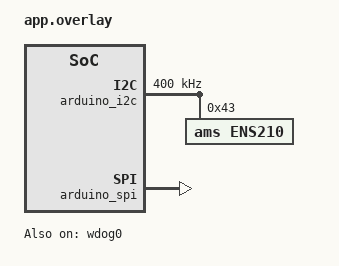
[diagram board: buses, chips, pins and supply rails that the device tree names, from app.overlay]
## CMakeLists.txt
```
# Copyright (c) 2024-2026 Atmosic
#
# SPDX-License-Identifier: LicenseRef-Atmosic

cmake_minimum_required(VERSION 3.20.0)

set(BOARD_ROOT ${CMAKE_CURRENT_SOURCE_DIR}/../../)
set(SHIELD pervasive_epaper_e2266qs0f1)

find_package(Zephyr REQUIRED HINTS $ENV{ZEPHYR_BASE})
project(peripheral_esl)


if(CONFIG_BT_ESLS_DISPLAY_NUM)
  target_sources(app PRIVATE
    display/esl_display.c
    display/esl_image.c
  )
  zephyr_include_directories(display)
endif()

target_sources(app PRIVATE
  src/main.c
)
```

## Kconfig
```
# Copyright (c) 2025-2026 Atmosic
#
# SPDX-License-Identifier: LicenseRef-Atmosic

source "Kconfig.zephyr"

config ESL_PTS
	bool "Enable for the PTS test"
```

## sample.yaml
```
sample:
  name: Bluetooth Peripheral ESL
  description: Demonstrates the ESL (Electronic Shelf Label) GATT Service
common:
  sysbuild: true
  harness: console
  harness_config:
    type: one_line
    regex:
      - "Adv Start"
  tags:
    - ble_pawr
    - bluetooth
    - atm_test_with_spe
  depends_on:
    - esl
tests:
  applications.peripheral_esl.atm: &base_config
    extra_args:
      - SB_ATM_DTS_EXTRA_CPPFLAGS="-DINIT_BP_FREQ=48000000;-DATM_APP_FLASH_RESERVED_SIZE=0x9000"
  applications.peripheral_esl.atm.mcuboot:
    tags:
      - mcuboot
    extra_args:
      - SB_CONFIG_BOOTLOADER_MCUBOOT=y
      - SB_CONFIG_BOOT_SIGNATURE_TYPE_ECDSA_P256=y
      - SB_CONFIG_MCUBOOT_MODE_SWAP_SCRATCH=y
      - SB_ATM_DTS_EXTRA_CPPFLAGS="-DINIT_BP_FREQ=48000000;-DATM_APP_FLASH_RESERVED_SIZE=0x9000;-DATM_STORAGE_SIZE=0x1000;-DATM_MCUBOOT_SWAP_WITH_OFFSET=0"
  applications.peripheral_esl.atm.pytest:
    extra_args:
      - SB_ATM_DTS_EXTRA_CPPFLAGS="-DATM_APP_FLASH_RESERVED_SIZE=0x9000"
    harness: pytest
    tags:
      - esl_pytest
    timeout: 600
  applications.peripheral_esl.atm.gcov:
    <<: *base_config
    tags:
      - gcov
    depends_on:
      - gcov_capable
    timeout: 300
    extra_configs:
      - CONFIG_UU_TEST_OPENAIR="esls.c;display_pervasive.c"
```

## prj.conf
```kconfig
# STACK SIZE
CONFIG_MAIN_STACK_SIZE=2048
CONFIG_SYSTEM_WORKQUEUE_STACK_SIZE=2048

CONFIG_LOG=y

# DRIVER
CONFIG_I2C=y
CONFIG_SENSOR=y
CONFIG_DISPLAY=y
CONFIG_LED=y

# BT
CONFIG_BT=y
CONFIG_BT_PERIPHERAL=y
CONFIG_BT_SMP=y
CONFIG_BT_PRIVACY=y
CONFIG_BT_BUF_ACL_RX_SIZE=502
CONFIG_BT_ATT_PREPARE_COUNT=2
CONFIG_BT_MAX_PAIRED=1
CONFIG_BT_MAX_CONN=1

CONFIG_BT_DEVICE_NAME="Atmosic_ESL"
CONFIG_BT_DEVICE_APPEARANCE=2754

# DIS
CONFIG_BT_DIS=y
CONFIG_BT_DIS_PNP=y
CONFIG_BT_DIS_MANUF_NAME_STR="Atmosic Tech."
CONFIG_BT_DIS_PNP_VID_SRC=2
CONFIG_BT_DIS_PNP_VID=0x045E
CONFIG_BT_DIS_PNP_PID=0x0040
CONFIG_BT_DIS_PNP_VER=0x0300

# SETTINGS
CONFIG_BT_SETTINGS=y
CONFIG_FLASH=y
CONFIG_FLASH_PAGE_LAYOUT=y
CONFIG_FLASH_MAP=y
CONFIG_NVS=y
CONFIG_SETTINGS=y
CONFIG_ATM_SETTINGS=y

# BT STKLIB
CONFIG_ATMWSTK_CPD200=y

# ESLS
CONFIG_BT_ESLS=y
CONFIG_BT_ESLS_IMAGE_NUM=2
# Need to be CONFIG_BT_ESLS_IMAGE_NUM + 1 (1 for BT_OTS_DIR_LIST_OBJ)
CONFIG_BT_OTS_MAX_OBJ_CNT=3
CONFIG_BT_ESLS_IMAGE_MAX_SIZE=12288
CONFIG_BT_ESLS_ADV_MANU_DATA_MAX=6
CONFIG_BT_ESLS_LED_NUM=1

# STACK SENTINEL
CONFIG_STACK_SENTINEL=y

# Need to enable for power consumption measure
#CONFIG_ENS210_TEMPERATURE_SINGLE=y
#CONFIG_ENS210_HUMIDITY_SINGLE=y

CONFIG_BT_GAP_AUTO_UPDATE_CONN_PARAMS=n
CONFIG_APP_WORK_Q=y

# VENDOR API COMMAND
CONFIG_ATM_VENDOR_API=y
CONFIG_VND_API_SET_ADV_TX_POWER=y
CONFIG_VND_API_SET_CON_TX_POWER=y
```

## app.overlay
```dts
/*
 * Copyright (c) 2025-2026 Atmosic
 *
 * SPDX-License-Identifier: Apache-2.0
 */

#define ATM_EPD_STORAGE_NODE_ID cece00F0
#define EPD_STORAGE_SIZE ATM_APP_FLASH_RESERVED_SIZE
#ifdef ATM_SLOT3_OFFSET
#define EPD_STORAGE_OFFSET (ATM_SLOT3_OFFSET + ATM_SLOT3_SIZE)
#else
#define EPD_STORAGE_OFFSET (FLASH_SIZE - EPD_STORAGE_SIZE)
#endif

#if ((EPD_STORAGE_OFFSET+EPD_STORAGE_SIZE) > FLASH_SIZE)
#error "EPD storage size does not fit in specified FLASH_SIZE"
#endif

&flash0 {
	partitions {
		compatible = "atmosic,tz-fixed-partitions", "fixed-partitions";
		#address-cells = <1>;
		#size-cells = <1>;

		epd_storage: partition@ATM_EPD_STORAGE_NODE_ID {
			label = "epd_storage";
			reg = <EPD_STORAGE_OFFSET EPD_STORAGE_SIZE>;
		};
	};
};

&wdog0 {
	status = "okay";
};

&arduino_i2c {
	status = "okay";
	clock-frequency = <I2C_BITRATE_FAST>;

	ens210: ens210@43 {
		compatible = "ams,ens210";
		reg = <0x43>;
	};
};

&pinctrl {
	spi1_cs_default: spi1_cs_default {
		pinmux = <12 PINMUX_SPI1_CS>;
	};

	spi1_clk_default: spi1_clk_default {
		pinmux = <13 PINMUX_SPI1_CLK>;
	};

	spi1_mosi_default: spi1_mosi_default {
		pinmux = <14 PINMUX_SPI1_MOSI>;
	};

	spi1_miso_default: spi1_miso_default {
		pinmux = <15 PINMUX_SPI1_MISO>;
	};
};

&arduino_spi {
	pinctrl-0 = <&spi1_cs_default &spi1_clk_default &spi1_mosi_default &spi1_miso_default>;
	pinctrl-names = "default";
	status = "okay";
};

&pervasive_interface {
	dc-gpios = <&gpio0 7 GPIO_ACTIVE_LOW>;
	reset-gpios = <&gpio0 3 GPIO_ACTIVE_LOW>;
	busy-gpios = <&gpio0 6 GPIO_ACTIVE_HIGH>;
};

&pmu {
	vddio-type = <1>;
};
```

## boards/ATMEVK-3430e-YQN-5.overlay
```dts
/*
 * Copyright (c) 2022-2026 Atmosic
 *
 * SPDX-License-Identifier: LicenseRef-Atmosic
 */

#include "../app.overlay"

&led2 {
	/*
	 * Remap led2 to P1.14.
	 * The original pin (P0.7) conflicts with the 'pervasive_interface'
	 * dc-gpios on this board.
	 */
	gpios = <&gpio1 14 GPIO_ACTIVE_HIGH>;
};
```

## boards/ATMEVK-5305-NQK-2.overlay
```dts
/*
 * Copyright (c) 2026 Atmosic
 *
 * SPDX-License-Identifier: LicenseRef-Atmosic
 */

#include "../app.overlay"

&pervasive_interface {
	dc-gpios = <&gpio2 7 GPIO_ACTIVE_LOW>; /* P39 */
	reset-gpios = <&gpio2 5 GPIO_ACTIVE_LOW>; /* P37 */
	busy-gpios = <&gpio2 6 GPIO_ACTIVE_HIGH>; /* P38 */
};

&pinctrl {
	i2c0_sda_default: i2c0_sda_default {
		pinmux = <17 PINMUX_I2C0_SDA>;
	};

	i2c0_scl_default: i2c0_scl_default {
		pinmux = <16 PINMUX_I2C0_SCL>;
	};
};
```

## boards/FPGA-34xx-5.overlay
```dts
/*
 * Copyright (c) 2024-2026 Atmosic
 *
 * SPDX-License-Identifier: LicenseRef-Atmosic
 */

&pinctrl {
	spi1_cs_default: spi1_cs_default {
		pinmux = <12 PINMUX_SPI1_CS>;
	};

	spi1_clk_default: spi1_clk_default {
		pinmux = <13 PINMUX_SPI1_CLK>;
	};

	spi1_mosi_default: spi1_mosi_default {
		pinmux = <14 PINMUX_SPI1_MOSI>;
	};

	spi1_miso_default: spi1_miso_default {
		pinmux = <15 PINMUX_SPI1_MISO>;
	};
};

&arduino_spi {
	pinctrl-0 = <&spi1_cs_default &spi1_clk_default &spi1_mosi_default &spi1_miso_default>;
	pinctrl-names = "default";
	status = "okay";
};
```

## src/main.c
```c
/**
 *******************************************************************************
 *
 * @file main.c
 *
 * @brief Peripheral ESL application entry point
 *
 * Copyright (c) 2024-2026 Atmosic
 *
 * SPDX-License-Identifier: LicenseRef-Atmosic
 *
 *******************************************************************************
 */

#include <zephyr/types.h>
#include <stddef.h>
#include <string.h>
#include <errno.h>
#include <zephyr/sys/printk.h>
#include <zephyr/sys/byteorder.h>
#include <zephyr/kernel.h>
#include <zephyr/drivers/watchdog.h>
#include <zephyr/drivers/gpio.h>

#include <zephyr/logging/log.h>
#include <zephyr/settings/settings.h>

#include <zephyr/bluetooth/bluetooth.h>
#include <zephyr/bluetooth/conn.h>
#include <zephyr/bluetooth/hci.h>
#include "esls.h"
#if CONFIG_BT_ESLS_SENSOR_NUM > 0
#include <zephyr/device.h>
#include <zephyr/drivers/sensor.h>
#if CONFIG_ENS210_TEMPERATURE_SINGLE && CONFIG_ENS210_HUMIDITY_SINGLE
#define ENS210_SINGLE
#endif
#endif // CONFIG_BT_ESLS_SENSOR_NUM > 0
#ifdef CONFIG_PM
#include <zephyr/pm/pm.h>
#endif
#if CONFIG_BT_ESLS_IMAGE_NUM > 0
#include "esl_image.h"
#endif
#if CONFIG_BT_ESLS_DISPLAY_NUM > 0
#include "esl_display.h"
#endif
#include "app_work_q.h"
#ifdef CONFIG_ATM_VENDOR_API
#include "atm_vendor_api.h"
#endif

#if CONFIG_BT_ESLS_LED_NUM > 0
#include <zephyr/device.h>
#include <zephyr/drivers/led.h>
#endif

LOG_MODULE_REGISTER(main, LOG_LEVEL_WRN);

#define SLEEP_TIME        K_SECONDS(3)
#define WDT_MIN_WINDOW_MS 0
#define WDT_MAX_WINDOW_MS 5000

#define SW0_NODE DT_ALIAS(sw0)

static struct device const *wdog_dev = DEVICE_DT_GET(DT_ALIAS(watchdog0));
static int wdt_channel_id;

#ifdef CONFIG_PM
static void wdog_poke(enum pm_state state)
{
	wdt_feed(wdog_dev, wdt_channel_id);
}

static struct pm_notifier notifier = {
	.state_entry = wdog_poke,
	.state_exit = wdog_poke,
};
#endif

static void connected(struct bt_conn *conn, uint8_t err)
{
	if (err) {
		LOG_ERR("Connection failed err:%d", err);
		return;
	}
	LOG_INF("Connected");
#ifdef CONFIG_VND_API_SET_CON_TX_POWER
	{
		uint16_t conn_hdl;
		if (bt_hci_get_conn_handle(conn, &conn_hdl)) {
			LOG_ERR("Get con hdl fail");
			return;
		}
		if (atm_vendor_set_con_tx_power(conn_hdl, TX_POWER_0_DBM)) {
			LOG_ERR("Set con tx pwr fail");
		}
	}
#endif
}

static void disconnected(struct bt_conn *conn, uint8_t reason)
{
	LOG_INF("Disconnected reason:%#x", reason);
}

BT_CONN_CB_DEFINE(conn_callbacks) = {
	.connected = connected,
	.disconnected = disconnected,
};

#if CONFIG_BT_ESLS_SENSOR_NUM > 0
const struct device *dev;
#ifdef ENS210_SINGLE
#define CONFIG_SENSOR_WQ_STACK_SIZE 1024
static K_THREAD_STACK_DEFINE(sensor_stack_area, CONFIG_SENSOR_WQ_STACK_SIZE);
static struct k_work_q sensor_wq;
static struct sensor_value temperature;
static int sensor_status = -EBUSY;

static struct read_sensor_work_info {
	struct k_work work;
} read_sensor_work;

static void read_sensor_handler(struct k_work *work)
{
	int err = sensor_sample_fetch(dev);
	if (err) {
		sensor_status = err;
		LOG_ERR("%s sensor_status:%d", __func__, sensor_status);
		return;
	}
	sensor_status = sensor_channel_get(dev, SENSOR_CHAN_AMBIENT_TEMP, &temperature);
	if (sensor_status) {
		LOG_ERR("%s sensor_status:%d", __func__, sensor_status);
	}
}
#endif

static void sensor_init(void)
{
	dev = DEVICE_DT_GET_ANY(ams_ens210);
	if (!device_is_ready(dev)) {
		LOG_WRN("Device %s is not ready, connect JP25", dev->name);
	}

#ifdef ENS210_SINGLE
	k_work_queue_init(&sensor_wq);
	k_work_queue_start(&sensor_wq, sensor_stack_area, K_THREAD_STACK_SIZEOF(sensor_stack_area),
			   K_LOWEST_APPLICATION_THREAD_PRIO, NULL);
	k_thread_name_set(&sensor_wq.thread, "SENSOR WQ");

	k_work_init(&read_sensor_work.work, read_sensor_handler);
#endif
}

static int sensor_read_data(uint8_t sensor_idx, uint8_t *sensor_data, uint8_t *sensor_data_len)
{
	if (!dev) {
		return -ENOTSUP;
	}
	int err;
#ifdef ENS210_SINGLE
	if (sensor_status) {
		err = sensor_status;
		if (sensor_status == -EBUSY) {
			k_work_submit_to_queue(&sensor_wq, &read_sensor_work.work);
		} else {
			// reset sensor_status, let reading sensor next time
			sensor_status = -EBUSY;
		}
		return err;
	}
	// reset sensor_status, let reading sensor next time
	sensor_status = -EBUSY;
#else
	err = sensor_sample_fetch(dev);
	if (err) {
		LOG_ERR("sample err:%d", err);
		return err;
	}
	struct sensor_value temperature;
	err = sensor_channel_get(dev, SENSOR_CHAN_AMBIENT_TEMP, &temperature);
	if (err) {
		LOG_ERR("channel err:%d", err);
		return err;
	}
#endif
	*sensor_data_len = sizeof(temperature);
	memcpy(sensor_data, &temperature, *sensor_data_len);
	LOG_INF("Temperature: %d.%06d C", temperature.val1, temperature.val2);
	return 0;
}
#endif // CONFIG_BT_ESLS_SENSOR_NUM > 0

#if CONFIG_BT_ESLS_ADV_MANU_DATA_MAX
static uint8_t esl_adv_manu_data[CONFIG_BT_ESLS_ADV_MANU_DATA_MAX];
static uint8_t esl_adv_len;
static int factory_esl_manu_data_handle_set(char const *name, size_t len, settings_read_cb read_cb,
					    void *cb_arg)
{
	if (name) {
		LOG_ERR("%s unexpect name:%s len:%u", __func__, name, len);
		return 0;
	} else if (len > sizeof(esl_adv_manu_data)) {
		LOG_ERR("%s len:%u", __func__, len);
		return 0;
	}

	read_cb(cb_arg, esl_adv_manu_data, sizeof(esl_adv_manu_data));
	esl_adv_len = len;
	LOG_INF("%s esl_adv_len:%u data[0]:%x", __func__, esl_adv_len, esl_adv_manu_data[0]);

	return 0;
}

SETTINGS_STATIC_HANDLER_DEFINE(factory, "FACTORY/ESL_MANU", NULL, factory_esl_manu_data_handle_set,
			       NULL, NULL);
#endif

#if CONFIG_BT_ESLS_LED_NUM > 0
static const struct device *const led = DEVICE_DT_GET_ONE(gpio_leds);

static int esl_led_control(uint8_t led_idx, bool on_off, uint8_t color_brightness_info)
{
	uint8_t brightness = (ESLS_LED_CTRL_BRIGHTNESS(color_brightness_info) + 1) * 25;
	LOG_INF("led_idx=%d, on_off=%x, brightness=%x", led_idx, on_off, brightness);

	if (on_off) {
		led_set_brightness(led, led_idx, brightness);
	} else {
		led_off(led, led_idx);
	}

	return 0;
}
#endif

static void bt_ready(int err)
{
	LOG_INF("%s", __func__);

	if (IS_ENABLED(CONFIG_SETTINGS)) {
		settings_load();
	}

	struct bt_esls_init_param init_param = {
#if CONFIG_BT_ESLS_SENSOR_NUM > 0
#define PROPERTY_AMBIENT_TEMP 0x004F
		.sensors_info[0] =
			{
				.type = BT_ESLS_SIZE_TYPE_16_BITS,
				.property_id = PROPERTY_AMBIENT_TEMP,
			},
		.sensor_read_data = sensor_read_data,
#endif
	};

#if CONFIG_BT_ESLS_IMAGE_NUM > 0
	esl_img_init_img_info(&init_param);
#endif

#if CONFIG_BT_ESLS_DISPLAY_NUM > 0
	esl_display_init_dsp_info(&init_param);
#endif

#if CONFIG_BT_ESLS_ADV_MANU_DATA_MAX
	init_param.app_adv_data = esl_adv_manu_data;
	init_param.app_adv_len = esl_adv_len;
#endif

#if CONFIG_BT_ESLS_LED_NUM > 0
	init_param.led_control = esl_led_control;
	memset(&init_param.led, 0, sizeof(init_param.led));

	// Red LED
	ESLS_LED_INFO_LED_TYPE_SET(init_param.led[0], BT_ESLS_LED_TYPE_MONOCHROME);
	ESLS_LED_INFO_RED_SET(init_param.led[0], 0x03);

#if CONFIG_BT_ESLS_LED_NUM >= 2
	// Yellow LED
	ESLS_LED_INFO_LED_TYPE_SET(init_param.led[1], BT_ESLS_LED_TYPE_MONOCHROME);
	ESLS_LED_INFO_RED_SET(init_param.led[1], 0x03);
	ESLS_LED_INFO_GREEN_SET(init_param.led[1], 0x03);
#endif

#if CONFIG_BT_ESLS_LED_NUM >= 3
	// Blue LED
	ESLS_LED_INFO_LED_TYPE_SET(init_param.led[2], BT_ESLS_LED_TYPE_MONOCHROME);
	ESLS_LED_INFO_BLUE_SET(init_param.led[2], 0x03);
#endif

#endif // CONFIG_BT_ESLS_LED_NUM > 0

	err = bt_esls_init(&init_param);
	if (err) {
		LOG_ERR("%s %d", __func__, err);
		return;
	}
#ifdef CONFIG_VND_API_SET_ADV_TX_POWER
	if (atm_vendor_set_adv_tx_power(TX_POWER_0_DBM)) {
		LOG_ERR("Set adv tx pwr fail");
	}
#endif
}

#define BTN_DOUBLE_CLICK_DELAY_MS 500
static const struct gpio_dt_spec button0 = GPIO_DT_SPEC_GET_OR(SW0_NODE, gpios, {0});

static struct gpio_callback button_cb_data;
static struct k_work_delayable button_work;
static int click_count;
static bool service_needed;

static void button_work_handler(struct k_work *work)
{
	LOG_DBG("%s", __func__);
	int err = bt_esls_unassociate();
	if (err) {
		LOG_ERR("%s err:%d", __func__, err);
	}
	click_count = 0;
}

static void button_pressed(const struct device *dev, struct gpio_callback *cb, uint32_t pins)
{
	if (!gpio_pin_get_dt(&button0)) {
		LOG_DBG("Button Released");
		return;
	}
	LOG_DBG("Button Pressed");

	if (!click_count) {
		click_count++;
		atm_work_schedule_for_app_work_q(&button_work, K_MSEC(BTN_DOUBLE_CLICK_DELAY_MS));
	} else {
		k_work_cancel_delayable(&button_work);
		service_needed = !service_needed;
		bt_esls_service_needed_bit_set(service_needed);
		click_count = 0;
		LOG_WRN("service_needed bit: %d", service_needed);
	}
}

static void configure_button_irq(const struct gpio_dt_spec btn)
{
	if (!gpio_is_ready_dt(&btn)) {
		LOG_ERR("button device %s is not ready", btn.port->name);
		return;
	}
	int err = gpio_pin_configure_dt(&btn, GPIO_INPUT);
	if (err) {
		LOG_ERR("Failed to configure %s pin %u err:%d", btn.port->name, btn.pin, err);
		return;
	}
	err = gpio_pin_interrupt_configure_dt(&btn, GPIO_INT_EDGE_BOTH);
	if (err) {
		LOG_ERR("Failed to configure interrupt on %s pin %u err:%d", btn.port->name,
			btn.pin, err);
		return;
	}
	button_cb_data.pin_mask |= BIT(btn.pin);
	gpio_add_callback(btn.port, &button_cb_data);
	LOG_INF("Set up button at %s pin %u", btn.port->name, btn.pin);
}

int main(void)
{
	struct wdt_timeout_cfg wdt_config = {
		.flags = WDT_FLAG_RESET_SOC,
		.window.min = WDT_MIN_WINDOW_MS,
		.window.max = WDT_MAX_WINDOW_MS,
		.callback = NULL,
	};

	wdt_channel_id = wdt_install_timeout(wdog_dev, &wdt_config);
	if (wdt_channel_id < 0) {
		LOG_ERR("Watchdog install error: %d", wdt_channel_id);
		return 1;
	}

	int ret = wdt_setup(wdog_dev, 0);
	if (ret < 0) {
		LOG_ERR("Watchdog setup error: %d", ret);
		return 1;
	}

	k_work_init_delayable(&button_work, button_work_handler);
	gpio_init_callback(&button_cb_data, button_pressed, BIT(button0.pin));
	configure_button_irq(button0);

#if CONFIG_BT_ESLS_SENSOR_NUM > 0
	sensor_init();
#endif

#if CONFIG_BT_ESLS_DISPLAY_NUM > 0
	esl_display_init();
#endif

#if CONFIG_BT_ESLS_LED_NUM > 0
	if (!device_is_ready(led)) {
		LOG_ERR("LED device is not ready\n");
		return 0;
	}
#endif

	int err = bt_enable(bt_ready);
	if (err) {
		LOG_ERR("Bluetooth init failed err:%d", err);
		return 0;
	}

#ifdef CONFIG_PM
	pm_notifier_register(&notifier);
#else
#if CONFIG_AUTO_TEST
	while (!test_end_check())
#else
	while (true)
#endif
	{
		k_sleep(SLEEP_TIME);
		wdt_feed(wdog_dev, wdt_channel_id);
	}
#endif
	return 0;
}
```
